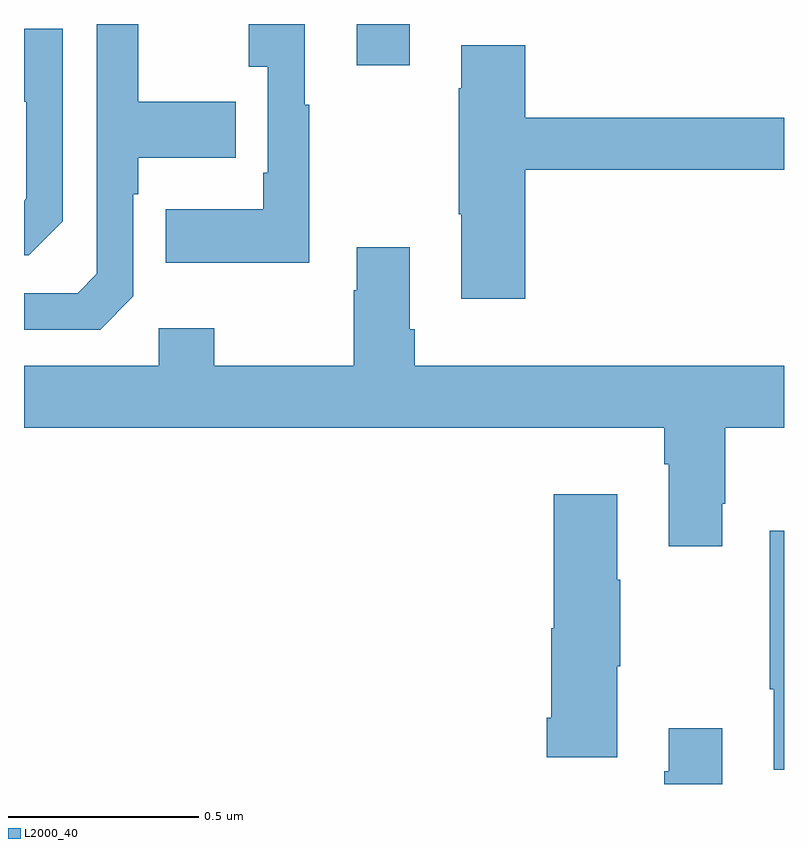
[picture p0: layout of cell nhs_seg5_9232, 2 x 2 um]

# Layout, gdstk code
import gdstk
lib = gdstk.Library(unit=1e-6, precision=1e-09)
def R(c, l, rs):  # rectangles x0, y0, x1, y1
    for r in rs: c.add(gdstk.rectangle(r[:2], r[2:], *l))
def P(c, l, *ps):  # polygons
    for p in ps: c.add(gdstk.Polygon(p, *l))
L2000_40 = (2000, 40)

nhs_seg5_9232 = lib.new_cell('nhs_seg5_9232')
R(nhs_seg5_9232, L2000_40, [(231.875,881.691,232.015,881.799)])
P(nhs_seg5_9232, L2000_40, [(231.751,881.587),(231.739,881.587),(231.739,881.799),(231.591,881.799),(231.591,881.687),(231.642,881.687),(231.642,881.407),(231.63,881.407),(231.63,881.311),(231.373,881.311),(231.373,881.171),(231.751,881.171)],
  [(231.288,881.082),(231.288,881.351),(231.301,881.351),(231.301,881.447),(231.557,881.447),(231.557,881.595),(231.301,881.595),(231.301,881.799),(231.192,881.799),(231.192,881.142),(231.141,881.091),(231,881.091),(231,880.995),(231.201,880.995)],
  [(231.102,881.28),(231.102,881.787),(231,881.787),(231,881.594),(231.006,881.594),(231.006,881.34),(231,881.334),(231,881.19),(231.012,881.19)],
  [(232.319,881.416),(233,881.416),(233,881.552),(232.319,881.552),(232.319,881.743),(232.151,881.743),(232.151,881.63),(232.144,881.63),(232.144,881.299),(232.151,881.299),(232.151,881.076),(232.319,881.076)],
  [(232.837,880.537),(232.845,880.537),(232.845,880.736),(233,880.736),(233,880.9),(232.028,880.9),(232.028,880.996),(232.015,880.996),(232.015,881.212),(231.875,881.212),(231.875,881.099),(231.868,881.099),(231.868,880.9),(231.501,880.9),(231.501,880.999),(231.354,880.999),(231.354,880.9),(231,880.9),(231,880.736),(232.685,880.736),(232.685,880.64),(232.697,880.64),(232.697,880.425),(232.837,880.425)],
  [(232.561,880.109),(232.569,880.109),(232.569,880.337),(232.561,880.337),(232.561,880.561),(232.394,880.561),(232.394,880.209),(232.388,880.209),(232.388,879.973),(232.376,879.973),(232.376,879.869),(232.561,879.869)],
  [(233,880.465),(232.962,880.465),(232.962,880.049),(232.973,880.049),(232.973,879.837),(233,879.837)],
  [(232.837,879.946),(232.697,879.946),(232.697,879.833),(232.685,879.833),(232.685,879.799),(232.837,879.799)])

lib.write_gds('nhs_seg5_9232.gds')
